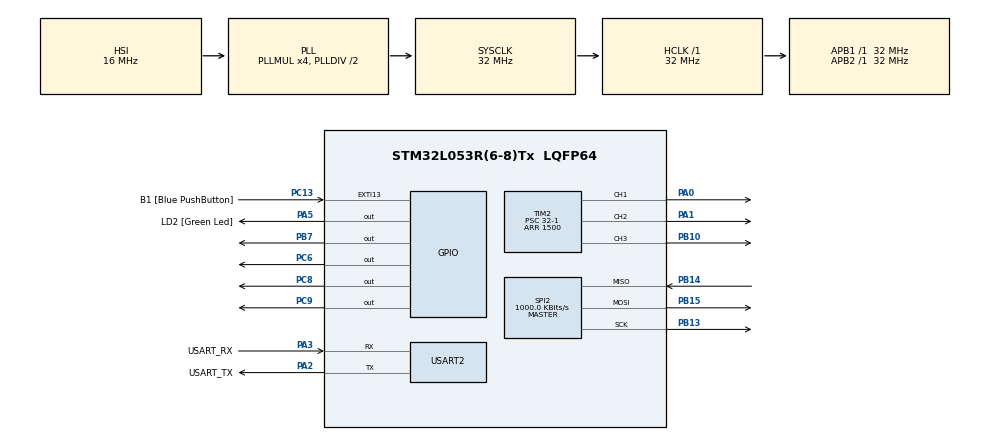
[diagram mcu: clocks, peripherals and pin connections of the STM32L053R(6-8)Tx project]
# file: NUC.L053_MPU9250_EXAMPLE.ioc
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Mcu.Family=STM32L0
Mcu.Name=STM32L053R(6-8)Tx
Mcu.Package=LQFP64
NVIC.TIM6_DAC_IRQn=true\:0\:0\:false\:false\:true\:true\:true\:true
PA0.Signal=S_TIM2_CH1
PA1.Signal=S_TIM2_CH2
PA13.GPIO_Label=TMS
PA13.Mode=Serial_Wire
PA13.Signal=SYS_SWDIO
PA14.GPIO_Label=TCK
PA14.Mode=Serial_Wire
PA14.Signal=SYS_SWCLK
PA2.GPIO_Label=USART_TX
PA2.Mode=Asynchronous
PA2.Signal=USART2_TX
PA3.GPIO_Label=USART_RX
PA3.Mode=Asynchronous
PA3.Signal=USART2_RX
PA5.GPIO_Label=LD2 [Green Led]
PA5.Signal=GPIO_Output
PB10.Signal=S_TIM2_CH3
PB13.Mode=Full_Duplex_Master
PB13.Signal=SPI2_SCK
PB14.Mode=Full_Duplex_Master
PB14.Signal=SPI2_MISO
PB15.Mode=Full_Duplex_Master
PB15.Signal=SPI2_MOSI
PB7.Signal=GPIO_Output
PC13.GPIO_Label=B1 [Blue PushButton]
PC13.GPIO_ModeDefaultEXTI=GPIO_MODE_IT_FALLING
PC13.Signal=GPXTI13
PC14-OSC32_IN.Signal=RCC_OSC32_IN
PC15-OSC32_OUT.Signal=RCC_OSC32_OUT
PC6.Signal=GPIO_Output
PC8.Signal=GPIO_Output
PC9.Signal=GPIO_Output
PH0-OSC_IN.Signal=RCC_OSC_IN
PH1-OSC_OUT.Signal=RCC_OSC_OUT
ProjectManager.HeapSize=0x200
ProjectManager.StackSize=0x400
ProjectManager.TargetToolchain=STM32CubeIDE
RCC.AHBFreq_Value=32000000
RCC.APB1Freq_Value=32000000
RCC.APB1TimFreq_Value=32000000
RCC.APB2Freq_Value=32000000
RCC.APB2TimFreq_Value=32000000
RCC.HCLKFreq_Value=32000000
RCC.HSE_VALUE=8000000
RCC.HSI16_VALUE=16000000
RCC.HSI48_VALUE=48000000
RCC.HSI_VALUE=16000000
RCC.LSEState=RCC_LSE_ON
RCC.LSE_VALUE=32768
RCC.MSI_VALUE=2097000
RCC.PLLMUL=RCC_PLLMUL_4
RCC.SYSCLKFreq_VALUE=32000000
RCC.SYSCLKSource=RCC_SYSCLKSOURCE_PLLCLK
RCC.VCOOutputFreq_Value=64000000
SH.S_TIM2_CH1.0=TIM2_CH1,PWM Generation1 CH1
SH.S_TIM2_CH2.0=TIM2_CH2,PWM Generation2 CH2
SH.S_TIM2_CH3.0=TIM2_CH3,PWM Generation3 CH3
SPI2.BaudRatePrescaler=SPI_BAUDRATEPRESCALER_32
SPI2.CalculateBaudRate=1000.0 KBits/s
SPI2.Direction=SPI_DIRECTION_2LINES
SPI2.Mode=SPI_MODE_MASTER
SPI2.VirtualType=VM_MASTER
TIM2.Channel-PWM\ Generation1\ CH1=TIM_CHANNEL_1
TIM2.Channel-PWM\ Generation2\ CH2=TIM_CHANNEL_2
TIM2.Channel-PWM\ Generation3\ CH3=TIM_CHANNEL_3
TIM2.Period=1500
TIM2.Prescaler=32-1
TIM6.Period=40-1
TIM6.Prescaler=32-1
USART2.VirtualMode-Asynchronous=VM_ASYNC
VP_TIM6_VS_ClockSourceINT.Mode=Enable_Timer
board=NUCLEO-L053R8

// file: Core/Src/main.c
/* USER CODE BEGIN Header */
/**
  ******************************************************************************
  * @file           : main.c
  * @brief          : Main program body
  ******************************************************************************
  * @attention
  *
  * Copyright (c) 2023 STMicroelectronics.
  * All rights reserved.
  *
  * This software is licensed under terms that can be found in the LICENSE file
  * in the root directory of this software component.
  * If no LICENSE file comes with this software, it is provided AS-IS.
  *
  ******************************************************************************
  */
/* USER CODE END Header */
#include "main.h"
#include "spi.h"
#include "tim.h"
#include "usart.h"
#include "gpio.h"

/* USER CODE BEGIN Includes */
#include "MPU9250.h"
#include "stdlib.h"
#include "string.h"
#include "stdio.h"
#include "math.h"
/* USER CODE END Includes */

/* USER CODE BEGIN PTD */
extern SPI_HandleTypeDef hspi2;

/* USER CODE END PTD */

/* USER CODE BEGIN PD */
#define TRUE  1
#define FALSE 0
char buf[1024];

/* USER CODE END PD */

/* USER CODE BEGIN PV */
uint8_t serialBuf[100];
MPU9250_t MPU9250;
void HAL_TIM_PeriodElapsedCallback(TIM_HandleTypeDef *htim)
{
  // Check if timer has triggered and update attitude
  if (htim == &htim6)
  {
    //HAL_ResumeTick();

    MPU_calcAttitude(&hspi2, &MPU9250);
    int16_t roll = roundf(10 * MPU9250.attitude.r);
    uint8_t rollDecimal = abs(roll % 10);
    int16_t pitch = roundf(10 * MPU9250.attitude.p);
    uint8_t pitchDecimal = abs(pitch % 10);
    int16_t yaw = roundf(10 * MPU9250.attitude.y);
    uint8_t yawDecimal = abs(yaw % 10);

    sprintf((char *)serialBuf, "%d.%d,%d.%d,%d.%d\r\n", roll/10, rollDecimal, pitch/10, pitchDecimal, yaw/10, yawDecimal);
    HAL_UART_Transmit(&huart2, serialBuf, strlen((char *)serialBuf), HAL_MAX_DELAY);

	  __HAL_TIM_SET_COMPARE(&htim2, TIM_CHANNEL_1, abs(((MPU9250.rawData.ax) * (150)) / (8000)));
	  __HAL_TIM_SET_COMPARE(&htim2, TIM_CHANNEL_2, abs(((MPU9250.rawData.ay) * (150)) / (8000)));
	  __HAL_TIM_SET_COMPARE(&htim2, TIM_CHANNEL_3, abs(((MPU9250.rawData.az) * (150)) / (8000)));
	  sprintf (buf, "X Ekseni %.2f ", MPU9250.rawData.ax);
    	  HAL_UART_Transmit(&huart2, (uint8_t*)buf, strlen(buf), 250);
//    		  if(MPU9250.rawData.ax<=2500)
//    			  __HAL_TIM_SET_COMPARE(&htim2, TIM_CHANNEL_1, 500);
//    		  else if (MPU9250.rawData.ax<=5000)
//    			  __HAL_TIM_SET_COMPARE(&htim2, TIM_CHANNEL_1, 1000);
//    		  else if(MPU9250.rawData.ax<=10000)
//    			  __HAL_TIM_SET_COMPARE(&htim2, TIM_CHANNEL_1, 2500);
//
//    	  else
//    		  __HAL_TIM_SET_COMPARE(&htim2, TIM_CHANNEL_1, 0);

    	  sprintf (buf, "Y Ekseni %.2f ", MPU9250.rawData.ay);
    	  HAL_UART_Transmit(&huart2, (uint8_t*)buf, strlen(buf), 250);
//
//    	 		  if(MPU9250.rawData.ay<=2500)
//    	 			  __HAL_TIM_SET_COMPARE(&htim2, TIM_CHANNEL_2, 500);
//    	 		  else if (MPU9250.rawData.ay<=5000)
//    	 			  __HAL_TIM_SET_COMPARE(&htim2, TIM_CHANNEL_2, 1000);
//    	 		  else if(MPU9250.rawData.ay<=10000)
//    	 			  __HAL_TIM_SET_COMPARE(&htim2, TIM_CHANNEL_2, 2500);
//
//
//
//    	 	  else
//    	 		  __HAL_TIM_SET_COMPARE(&htim2, TIM_CHANNEL_2, 0);

    	  sprintf (buf, "Z Ekseni %.2f\n", MPU9250.rawData.az);
    	  HAL_UART_Transmit(&huart2, (uint8_t*)buf, strlen(buf), 250);
//    	 		  if(MPU9250.rawData.az<=2500)
//    	 			  __HAL_TIM_SET_COMPARE(&htim2, TIM_CHANNEL_3, 500);
//    	 		  else if (MPU9250.rawData.az<=5000)
//    	 			  __HAL_TIM_SET_COMPARE(&htim2, TIM_CHANNEL_3, 1000);
//    	 		  else if(MPU9250.rawData.az<=10000)
//    	 			  __HAL_TIM_SET_COMPARE(&htim2, TIM_CHANNEL_3, 2500);
//
//
//
//    	 	  else
//    	 		  __HAL_TIM_SET_COMPARE(&htim2, TIM_CHANNEL_3, 0);

    	  sprintf (buf, "GX: %.2f ", MPU9250.gyroCal.x);
    	  HAL_UART_Transmit(&huart2, (uint8_t*)buf, strlen(buf), 250);

    	  sprintf (buf, "GY Ekseni %.2f ", MPU9250.gyroCal.y);
    	  HAL_UART_Transmit(&huart2, (uint8_t*)buf, strlen(buf), 250);

    	  sprintf (buf, "GZ Ekseni %.2f\n", MPU9250.gyroCal.z);
    	  HAL_UART_Transmit(&huart2, (uint8_t*)buf, strlen(buf), 250);

    HAL_SuspendTick();
  }
}
/* USER CODE END PV */

void SystemClock_Config(void);

int main(void)
{
  /* USER CODE BEGIN 1 */
	MPU9250.settings.gFullScaleRange = GFSR_500DPS;
	  MPU9250.settings.aFullScaleRange = AFSR_4G;
	  MPU9250.settings.CS_PIN = GPIO_PIN_7;
	  MPU9250.settings.CS_PORT = GPIOB;
	  MPU9250.attitude.tau = 0.98;
	  MPU9250.attitude.dt = 0.004;
  /* USER CODE END 1 */

  /* MCU Configuration--------------------------------------------------------*/

  /* Reset of all peripherals, Initializes the Flash interface and the Systick. */
  HAL_Init();

  /* Configure the system clock */
  SystemClock_Config();

  /* Initialize all configured peripherals */
  MX_GPIO_Init();
  MX_SPI2_Init();
  MX_USART2_UART_Init();
  MX_TIM6_Init();
  MX_TIM2_Init();
  /* USER CODE BEGIN 2 */
  	HAL_TIM_PWM_Start(&htim2, TIM_CHANNEL_1);
    HAL_TIM_PWM_Start(&htim2, TIM_CHANNEL_2);
    HAL_TIM_PWM_Start(&htim2, TIM_CHANNEL_3);
	  // Check if IMU configured properly and block if it didn't
  if (MPU_begin(&hspi2, &MPU9250) != TRUE)
    {
      sprintf((char *)serialBuf, "ERROR!\r\n");
      HAL_UART_Transmit(&huart2, serialBuf, strlen((char *)serialBuf), HAL_MAX_DELAY);
      while (1){}
    }

    // Calibrate the IMU
    sprintf((char *)serialBuf, "CALIBRATING...\r\n");
    HAL_UART_Transmit(&huart2, serialBuf, strlen((char *)serialBuf), HAL_MAX_DELAY);
    MPU_calibrateGyro(&hspi2, &MPU9250, 1500);

    // Start timer and put processor into an efficient low power mode
    HAL_TIM_Base_Start_IT(&htim6);
    //HAL_PWR_EnableSleepOnExit();
    //HAL_PWR_EnterSLEEPMode(PWR_MAINREGULATOR_ON, PWR_SLEEPENTRY_WFI);
  /* USER CODE END 2 */

  /* Infinite loop */
  /* USER CODE BEGIN WHILE */
  while (1)
  {
	  // print the Acceleration and Gyro values on the LCD 20x4

	  HAL_Delay (250);  // wait for a while
  }
    /* USER CODE END WHILE */

}

void SystemClock_Config(void)
{
  RCC_OscInitTypeDef RCC_OscInitStruct = {0};
  RCC_ClkInitTypeDef RCC_ClkInitStruct = {0};
  RCC_PeriphCLKInitTypeDef PeriphClkInit = {0};

  /** Configure the main internal regulator output voltage
  */
  __HAL_PWR_VOLTAGESCALING_CONFIG(PWR_REGULATOR_VOLTAGE_SCALE1);

  /** Initializes the RCC Oscillators according to the specified parameters
  * in the RCC_OscInitTypeDef structure.
  */
  RCC_OscInitStruct.OscillatorType = RCC_OSCILLATORTYPE_HSI;
  RCC_OscInitStruct.HSIState = RCC_HSI_ON;
  RCC_OscInitStruct.HSICalibrationValue = RCC_HSICALIBRATION_DEFAULT;
  RCC_OscInitStruct.PLL.PLLState = RCC_PLL_ON;
  RCC_OscInitStruct.PLL.PLLSource = RCC_PLLSOURCE_HSI;
  RCC_OscInitStruct.PLL.PLLMUL = RCC_PLLMUL_4;
  RCC_OscInitStruct.PLL.PLLDIV = RCC_PLLDIV_2;
  if (HAL_RCC_OscConfig(&RCC_OscInitStruct) != HAL_OK)
  {
    Error_Handler();
  }

  /** Initializes the CPU, AHB and APB buses clocks
  */
  RCC_ClkInitStruct.ClockType = RCC_CLOCKTYPE_HCLK|RCC_CLOCKTYPE_SYSCLK
                              |RCC_CLOCKTYPE_PCLK1|RCC_CLOCKTYPE_PCLK2;
  RCC_ClkInitStruct.SYSCLKSource = RCC_SYSCLKSOURCE_PLLCLK;
  RCC_ClkInitStruct.AHBCLKDivider = RCC_SYSCLK_DIV1;
  RCC_ClkInitStruct.APB1CLKDivider = RCC_HCLK_DIV1;
  RCC_ClkInitStruct.APB2CLKDivider = RCC_HCLK_DIV1;

  if (HAL_RCC_ClockConfig(&RCC_ClkInitStruct, FLASH_LATENCY_1) != HAL_OK)
  {
    Error_Handler();
  }
  PeriphClkInit.PeriphClockSelection = RCC_PERIPHCLK_USART2;
  PeriphClkInit.Usart2ClockSelection = RCC_USART2CLKSOURCE_PCLK1;
  if (HAL_RCCEx_PeriphCLKConfig(&PeriphClkInit) != HAL_OK)
  {
    Error_Handler();
  }
}

void Error_Handler(void)
{
  __disable_irq();
  while (1)
  {
  }
}
